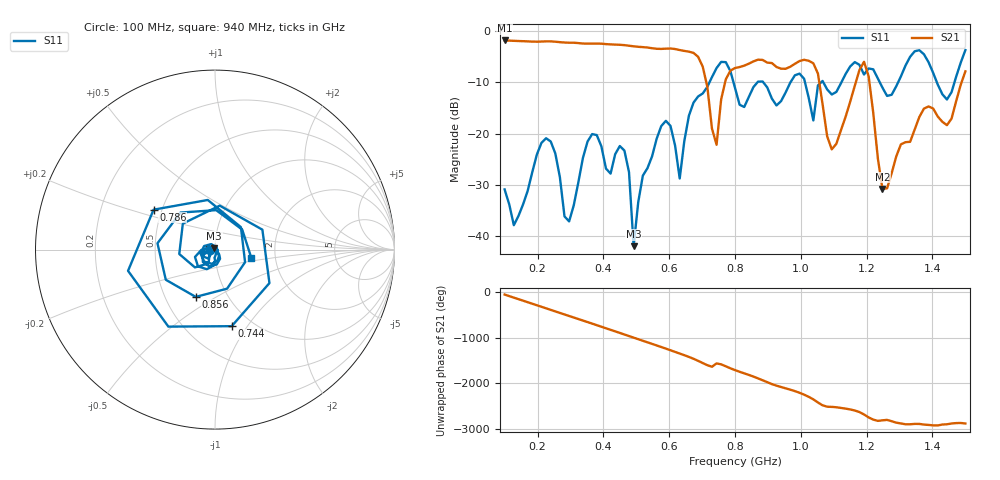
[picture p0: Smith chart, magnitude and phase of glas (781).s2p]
! NanoVNA-App
! Date: 2025-09-25 16:01:33
! Start: 100MHz Stop: 1,5GHz Points: 101
! S-Parameter data: F S11 S21 S12 S22
# Hz S RI R 50
!  Frequency  S11_Real  S11_Imag  S21_Real  S21_Imag  S12_Real  S12_Imag  S22_Real  S22_Imag
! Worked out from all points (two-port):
!   101 points, 100 MHz to 1.5 GHz, reference 50 ohm
!   highest |S21| = -1.80 dB at 100 MHz (marker M1); lowest = -30.8 dB at 1.248 GHz (marker M2)
!   |S21| within 3 dB of the highest: start of sweep to 684.2 MHz
!   lowest |S11| = -42.0 dB at 492 MHz (marker M3), VSWR 1.02, Z = 49.5 + j0.61 ohm
!   |S11| at or under -10 dB: start of sweep to 722.4 MHz; 795.4 MHz to 868.1 MHz (72.66 MHz wide, 8.74 % of centre); 886 MHz to 968.4 MHz (82.38 MHz wide, 8.88 % of centre) (the widest 3 of 7)
!   S12 and S22 are empty: the file has one direction only
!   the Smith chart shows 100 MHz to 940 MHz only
!   S11 on the Smith chart (normalised r, x): 100 MHz: 0.94, -0.01; 744 MHz: 0.81, -0.85; 786 MHz: 0.45, +0.24; 856 MHz: 0.71, -0.41; 940 MHz: 1.50, -0.14
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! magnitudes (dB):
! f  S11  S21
! 100 MHz  -30.9  -1.8
! 128 MHz  -37.9  -1.9
! 226 MHz  -20.9  -2.0
! 296 MHz  -37.2  -2.2
! 338 MHz  -24.8  -2.4
! 464 MHz  -23.3  -2.7
! 492 MHz  -42.0  -2.9
! 576 MHz  -18.5  -3.5
! 632 MHz  -28.8  -3.7
! 702 MHz  -12.2  -6.9
! 744 MHz  -7.2  -22.2
! 786 MHz  -7.8  -7.7
! 800 MHz  -11.1  -7.2
! 856 MHz  -10.9  -5.9
! 940 MHz  -13.7  -7.3
! 996 MHz  -8.3  -5.8
! 1.038 GHz  -17.4  -6.3
! 1.094 GHz  -12.4  -23.1
! 1.192 GHz  -8.5  -6.0
! 1.248 GHz  -11.0  -30.8
! 1.276 GHz  -12.4  -27.8
! 1.5 GHz  -3.7  -7.8
